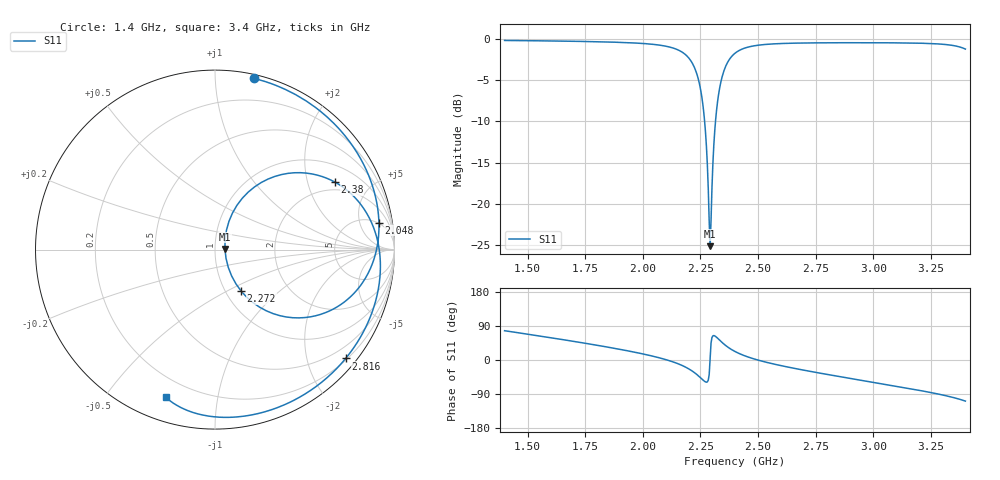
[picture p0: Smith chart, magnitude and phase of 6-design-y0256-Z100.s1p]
#  Hz  S  RI  R  50
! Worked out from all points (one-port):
!   501 points, 1.4 GHz to 3.4 GHz, reference 50 ohm
!   lowest |S11| = -25.1 dB at 2.292 GHz (marker M1), VSWR 1.12, Z = 55.9 + j0.386 ohm
!   |S11| at or under -10 dB: 2.268 GHz to 2.315 GHz (47.18 MHz wide, 2.06 % of centre)
!   S11 on the Smith chart (normalised r, x): 1.4 GHz: 0.03, +1.25; 2.048 GHz: 5, +10; 2.272 GHz: 1.18, -0.59; 2.38 GHz: 1.64, +2.98; 2.816 GHz: 0.23, -2.75; 3.4 GHz: 0.11, -0.72
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1.4e9  0.2161 0.9544
1.652e9  0.5722 0.7825
1.9e9  0.84 0.4499
2.048e9  0.9134 0.1508
2.152e9  0.8463 -0.1447
2.196e9  0.718 -0.2939
2.232e9  0.5001 -0.3787
2.256e9  0.2857 -0.3409
2.272e9  0.1449 -0.2302
2.284e9  0.0739 -0.0987
2.288e9  0.0614 -0.0485
2.292e9  0.0554 0.00345
2.296e9  0.0562 0.0558
2.3e9  0.0637 0.1075
2.308e9  0.0976 0.2042
2.312e9  0.1227 0.2474
2.324e9  0.2202 0.3494
2.348e9  0.4424 0.4281
2.38e9  0.6672 0.3765
2.4e9  0.7568 0.3124
2.44e9  0.8596 0.1764
2.492e9  0.9121 0.0184
2.652e9  0.8771 -0.3436
2.816e9  0.7282 -0.6063
2.9e9  0.627 -0.7113
3.152e9  0.2472 -0.9118
3.304e9  -0.0438 -0.9263
3.4e9  -0.2744 -0.8232
